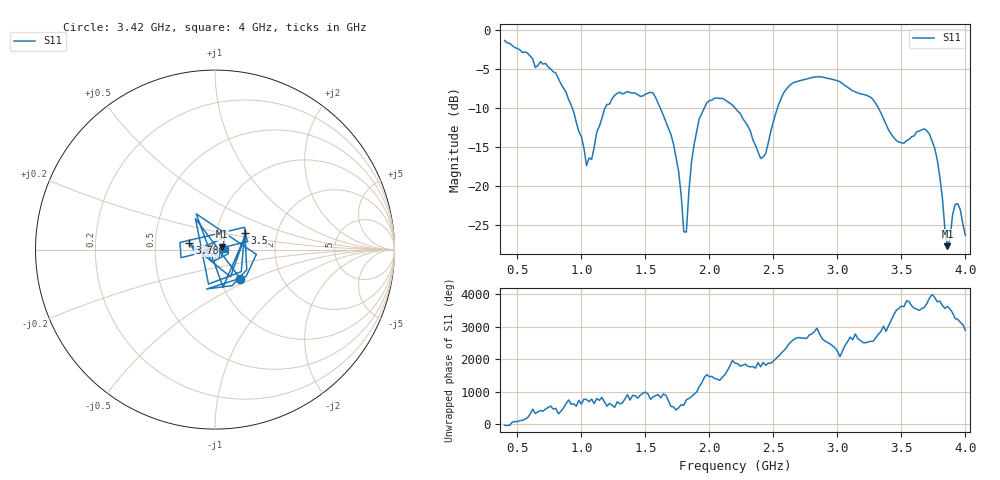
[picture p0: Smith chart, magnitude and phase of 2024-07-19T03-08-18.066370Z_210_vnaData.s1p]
!Created with skrf (http://scikit-rf.org).
# Hz S RI R 50.0
!freq ReS11 ImS11
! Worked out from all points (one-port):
!   181 points, 400 MHz to 4 GHz, reference 50 ohm
!   lowest |S11| = -27.7 dB at 3.86 GHz (marker M1), VSWR 1.09, Z = 53.9 + j1.71 ohm
!   |S11| at or under -10 dB: 1.616 GHz to 1.961 GHz (345.2 MHz wide, 19.3 % of centre); 2.199 GHz to 2.532 GHz (332.7 MHz wide, 14.1 % of centre); 3.32 GHz to end of sweep (the widest 3 of 4)
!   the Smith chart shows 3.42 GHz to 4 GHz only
!   S11 on the Smith chart (normalised r, x): 3.42 GHz: 1.25, -0.43; 3.5 GHz: 1.37, +0.26; 3.78 GHz: 0.75, +0.05; 4 GHz: 1.10, +0.01
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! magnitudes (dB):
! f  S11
! 400 MHz  -1.4
! 860 MHz  -7.5
! 1 GHz  -13.7
! 1.04 GHz  -17.4
! 1.18 GHz  -10.2
! 1.3 GHz  -8.0
! 1.56 GHz  -8.1
! 1.7 GHz  -13.5
! 1.76 GHz  -18.2
! 1.8 GHz  -25.9
! 1.82 GHz  -25.9
! 1.86 GHz  -17.0
! 1.92 GHz  -11.4
! 2.04 GHz  -8.8
! 2.2 GHz  -10.0
! 2.4 GHz  -16.5
! 2.56 GHz  -8.8
! 2.66 GHz  -6.7
! 3.1 GHz  -7.6
! 3.28 GHz  -9.0
! 3.42 GHz  -13.3
! 3.5 GHz  -14.5
! 3.56 GHz  -14.0
! 3.68 GHz  -12.7
! 3.78 GHz  -16.6
! 3.86 GHz  -27.7
! 3.92 GHz  -22.4
! 4 GHz  -26.3
